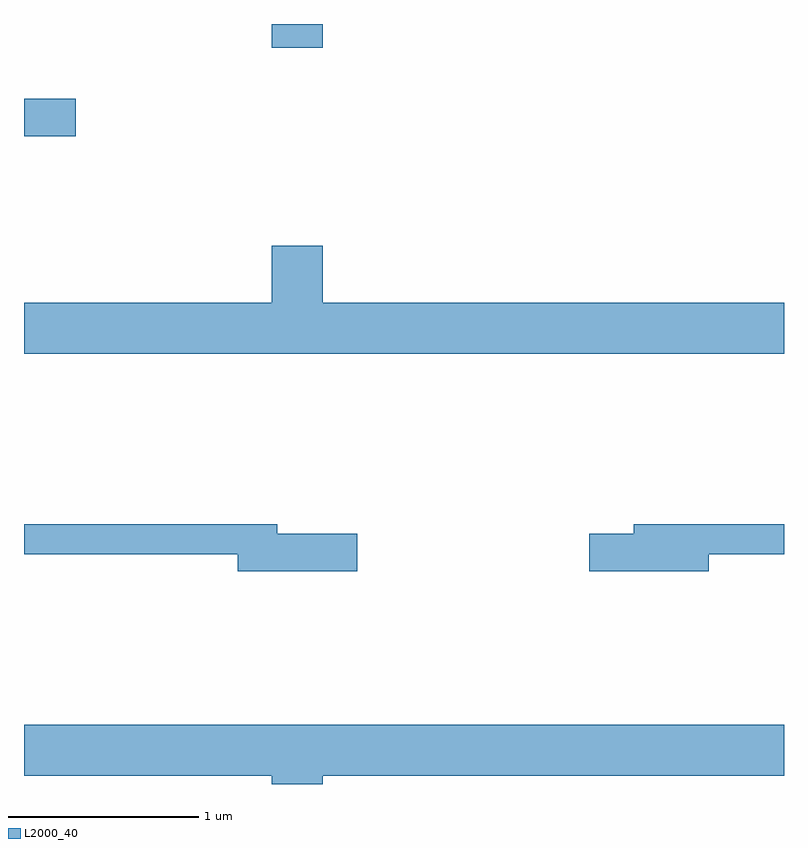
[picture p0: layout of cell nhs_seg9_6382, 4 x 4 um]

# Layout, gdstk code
import gdstk
lib = gdstk.Library(unit=1e-6, precision=1e-09)
def R(c, l, rs):  # rectangles x0, y0, x1, y1
    for r in rs: c.add(gdstk.rectangle(r[:2], r[2:], *l))
def P(c, l, *ps):  # polygons
    for p in ps: c.add(gdstk.Polygon(p, *l))
L2000_40 = (2000, 40)

nhs_seg9_6382 = lib.new_cell('nhs_seg9_6382')
R(nhs_seg9_6382, L2000_40, [(373.611,2001.841,373.884,2002.039), (374.916,2002.306,375.184,2002.432)])
P(nhs_seg9_6382, L2000_40, [(377.611,2000.964),(375.184,2000.964),(375.184,2001.264),(374.916,2001.264),(374.916,2000.964),(373.611,2000.964),(373.611,2000.696),(377.611,2000.696)],
  [(375.364,1999.749),(374.944,1999.749),(374.944,1999.799),(373.611,1999.799),(373.611,1999.641),(374.736,1999.641),(374.736,1999.551),(375.364,1999.551)],
  [(377.214,1999.641),(377.611,1999.641),(377.611,1999.799),(376.821,1999.799),(376.821,1999.749),(376.586,1999.749),(376.586,1999.551),(377.214,1999.551)],
  [(375.184,1998.476),(377.611,1998.476),(377.611,1998.744),(373.611,1998.744),(373.611,1998.476),(374.916,1998.476),(374.916,1998.432),(375.184,1998.432)])

lib.write_gds('nhs_seg9_6382.gds')
